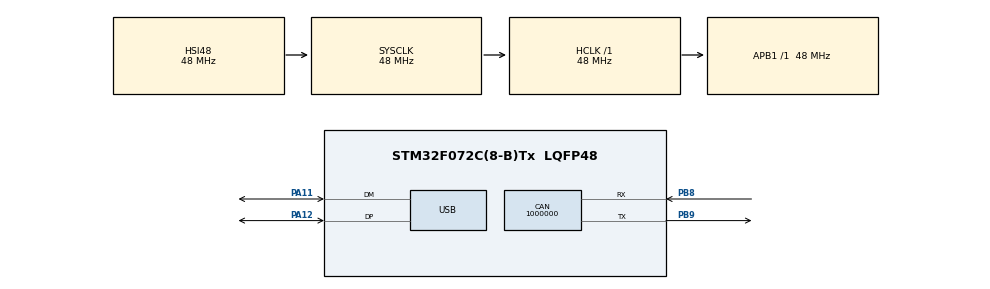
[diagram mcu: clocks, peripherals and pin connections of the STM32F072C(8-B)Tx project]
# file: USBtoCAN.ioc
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CAN.CalculateBaudRate=1000000
CAN.CalculateTimeBit=1000
CAN.CalculateTimeQuantum=333.3333333333333
Mcu.Family=STM32F0
Mcu.Name=STM32F072C(8-B)Tx
Mcu.Package=LQFP48
NVIC.USB_IRQn=true\:0\:0\:false\:false\:true\:false\:true\:true
PA11.Mode=Device
PA11.Signal=USB_DM
PA12.Mode=Device
PA12.Signal=USB_DP
PA13.Mode=Serial_Wire
PA13.Signal=SYS_SWDIO
PA14.Mode=Serial_Wire
PA14.Signal=SYS_SWCLK
PB8.Mode=CAN_Activate
PB8.Signal=CAN_RX
PB9.Mode=CAN_Activate
PB9.Signal=CAN_TX
PF0-OSC_IN.Mode=HSE-External-Oscillator
PF0-OSC_IN.Signal=RCC_OSC_IN
PF1-OSC_OUT.Mode=HSE-External-Oscillator
PF1-OSC_OUT.Signal=RCC_OSC_OUT
ProjectManager.HeapSize=0x200
ProjectManager.StackSize=0x400
ProjectManager.TargetToolchain=STM32CubeIDE
RCC.AHBFreq_Value=48000000
RCC.APB1Freq_Value=48000000
RCC.APB1TimFreq_Value=48000000
RCC.HCLKFreq_Value=48000000
RCC.SYSCLKFreq_VALUE=48000000
RCC.SYSCLKSource=RCC_SYSCLKSOURCE_HSI48
USB_DEVICE.CLASS_NAME_FS=CDC
USB_DEVICE.VirtualMode=Cdc
USB_DEVICE.VirtualModeFS=Cdc_FS
VP_USB_DEVICE_VS_USB_DEVICE_CDC_FS.Mode=CDC_FS
board=custom

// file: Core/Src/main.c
/* USER CODE BEGIN Header */
/**
  ******************************************************************************
  * @file           : main.c
  * @brief          : Main program body
  ******************************************************************************
  * @attention
  *
  * Copyright (c) 2024 STMicroelectronics.
  * All rights reserved.
  *
  * This software is licensed under terms that can be found in the LICENSE file
  * in the root directory of this software component.
  * If no LICENSE file comes with this software, it is provided AS-IS.
  *
  ******************************************************************************
  */
/* USER CODE END Header */
#include "main.h"
#include "usb_device.h"

/* USER CODE BEGIN Includes */
#include "usbd_cdc_if.h"
/* USER CODE END Includes */

CAN_HandleTypeDef hcan;

/* USER CODE BEGIN PV */

CAN_TxHeaderTypeDef TxHeader;

uint32_t TxMailbox;
uint8_t TxData[8];

CAN_TxHeaderTypeDef RxHeader;
uint32_t RxMailbox;
uint8_t RxData[8];

enum status {
	USB_to_CAN,
	CAN_to_USB,
	WAITING
};

enum status direction = WAITING;

uint8_t read_buffer[8][10];
uint8_t transmit_buffer[8][10];

uint32_t rbuf_read_ptr = 0;

uint32_t tbuf_read_ptr = 0;
uint32_t tbuf_write_ptr = 0;

/* USER CODE END PV */

void SystemClock_Config(void);
static void MX_GPIO_Init(void);
static void MX_CAN_Init(void);

/* USER CODE BEGIN 0 */
void HAL_CAN_TxMailbox0CompleteCallback(CAN_HandleTypeDef *hcan)
{
	// update the read_ptr if able to read last message
	rbuf_read_ptr = (++rbuf_read_ptr)% 8;
	direction = WAITING;
}

void HAL_CAN_RxFifo0MsgPendingCallback(CAN_HandleTypeDef *hcan)
{
	// triggers when there is some memory to read
	HAL_CAN_GetRxMessage(hcan, CAN_RX_FIFO0, &RxHeader, RxData);

	tbuf_write_ptr = (++tbuf_write_ptr)% 8;
	direction = CAN_to_USB;
}
/* USER CODE END 0 */

int main(void)
{

  /* MCU Configuration--------------------------------------------------------*/

  /* Reset of all peripherals, Initializes the Flash interface and the Systick. */
  HAL_Init();

  /* Configure the system clock */
  SystemClock_Config();

  /* Initialize all configured peripherals */
  MX_GPIO_Init();
  MX_CAN_Init();
  MX_USB_DEVICE_Init();

  HAL_CAN_ActivateNotification(&hcan, CAN_IT_RX_FIFO0_MSG_PENDING);
  /* USER CODE BEGIN 2 */
  TxHeader.IDE = CAN_ID_STD;
  TxHeader.RTR = CAN_RTR_DATA;
  /* USER CODE END 2 */

  /* Infinite loop */
  while (1)
  {
	  // for testing purposes (DELETE LATER!)
	  switch(direction) {
	  	  // USB TO CAN
	  	  case USB_to_CAN:
			  // update the header with the right CANId and length
			  TxHeader.StdId = read_buffer[rbuf_read_ptr][0];
			  TxHeader.DLC = read_buffer[rbuf_read_ptr][1];

			  // store the message in TxData
			  TxData[0] = read_buffer[rbuf_read_ptr][2];
			  TxData[1] = read_buffer[rbuf_read_ptr][3];
			  TxData[2] = read_buffer[rbuf_read_ptr][4];
			  TxData[3] = read_buffer[rbuf_read_ptr][5];
			  TxData[4] = read_buffer[rbuf_read_ptr][6];
			  TxData[5] = read_buffer[rbuf_read_ptr][7];
			  TxData[6] = read_buffer[rbuf_read_ptr][8];
			  TxData[7] = read_buffer[rbuf_read_ptr][9];

			  //Send message to CAN
			  HAL_CAN_AddTxMessage(&hcan, &TxHeader, TxData, &TxMailbox);

	      // CAN TO USB
	  	  case CAN_to_USB:
	  		// update the header with the right CANId and length
	  		  transmit_buffer[tbuf_read_ptr][0] = RxHeader.StdId;
			  transmit_buffer[tbuf_read_ptr][1] = RxHeader.DLC;

			  // store the message in transmit buffer
			  transmit_buffer[tbuf_read_ptr][2] = RxData[0];
			  transmit_buffer[tbuf_read_ptr][4] = RxData[2];
			  transmit_buffer[tbuf_read_ptr][5] = RxData[3];
			  transmit_buffer[tbuf_read_ptr][6] = RxData[4];
			  transmit_buffer[tbuf_read_ptr][7] = RxData[5];
			  transmit_buffer[tbuf_read_ptr][8] = RxData[6];
			  transmit_buffer[tbuf_read_ptr][9] = RxData[7];

	  		  CDC_Transmit_FS(transmit_buffer[tbuf_read_ptr], 10);

	  		  tbuf_read_ptr = (++tbuf_read_ptr)% 8;
	  		  direction = WAITING;
	  	  default:
	  		  break;

	  }

	  HAL_Delay(1000);

  }
}

void SystemClock_Config(void)
{
  RCC_OscInitTypeDef RCC_OscInitStruct = {0};
  RCC_ClkInitTypeDef RCC_ClkInitStruct = {0};
  RCC_PeriphCLKInitTypeDef PeriphClkInit = {0};

  /** Initializes the RCC Oscillators according to the specified parameters
  * in the RCC_OscInitTypeDef structure.
  */
  RCC_OscInitStruct.OscillatorType = RCC_OSCILLATORTYPE_HSI48;
  RCC_OscInitStruct.HSI48State = RCC_HSI48_ON;
  RCC_OscInitStruct.PLL.PLLState = RCC_PLL_NONE;
  if (HAL_RCC_OscConfig(&RCC_OscInitStruct) != HAL_OK)
  {
    Error_Handler();
  }

  /** Initializes the CPU, AHB and APB buses clocks
  */
  RCC_ClkInitStruct.ClockType = RCC_CLOCKTYPE_HCLK|RCC_CLOCKTYPE_SYSCLK
                              |RCC_CLOCKTYPE_PCLK1;
  RCC_ClkInitStruct.SYSCLKSource = RCC_SYSCLKSOURCE_HSI48;
  RCC_ClkInitStruct.AHBCLKDivider = RCC_SYSCLK_DIV1;
  RCC_ClkInitStruct.APB1CLKDivider = RCC_HCLK_DIV1;

  if (HAL_RCC_ClockConfig(&RCC_ClkInitStruct, FLASH_LATENCY_1) != HAL_OK)
  {
    Error_Handler();
  }
  PeriphClkInit.PeriphClockSelection = RCC_PERIPHCLK_USB;
  PeriphClkInit.UsbClockSelection = RCC_USBCLKSOURCE_HSI48;

  if (HAL_RCCEx_PeriphCLKConfig(&PeriphClkInit) != HAL_OK)
  {
    Error_Handler();
  }
}

static void MX_CAN_Init(void)
{

  hcan.Instance = CAN;
  hcan.Init.Prescaler = 16;
  hcan.Init.Mode = CAN_MODE_NORMAL;
  hcan.Init.SyncJumpWidth = CAN_SJW_1TQ;
  hcan.Init.TimeSeg1 = CAN_BS1_1TQ;
  hcan.Init.TimeSeg2 = CAN_BS2_1TQ;
  hcan.Init.TimeTriggeredMode = DISABLE;
  hcan.Init.AutoBusOff = DISABLE;
  hcan.Init.AutoWakeUp = DISABLE;
  hcan.Init.AutoRetransmission = DISABLE;
  hcan.Init.ReceiveFifoLocked = DISABLE;
  hcan.Init.TransmitFifoPriority = DISABLE;
  if (HAL_CAN_Init(&hcan) != HAL_OK)
  {
    Error_Handler();
  }

}

static void MX_GPIO_Init(void)
{

  /* GPIO Ports Clock Enable */
  __HAL_RCC_GPIOF_CLK_ENABLE();
  __HAL_RCC_GPIOA_CLK_ENABLE();
  __HAL_RCC_GPIOB_CLK_ENABLE();

}

void Error_Handler(void)
{
  __disable_irq();
  while (1)
  {
  }
}
